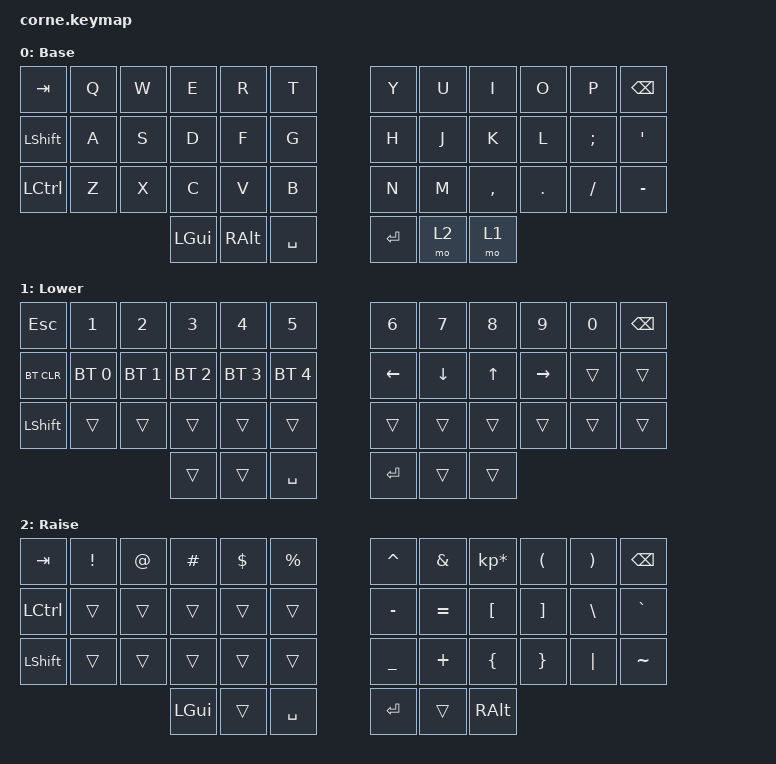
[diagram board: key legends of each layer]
/*
 * Copyright (c) 2020 The ZMK Contributors
 *
 * SPDX-License-Identifier: MIT
 */

#include <behaviors.dtsi>
#include <dt-bindings/zmk/keys.h>
#include <dt-bindings/zmk/bt.h>

/ {
        keymap {
                compatible = "zmk,keymap";

                default_layer {
// -----------------------------------------------------------------------------------------
// |  TAB |  Q  |  W  |  E  |  R  |  T  |   |  Y  |  U   |  I  |  O  |  P  | BKSP |
// | SHFT |  A  |  S  |  D  |  F  |  G  |   |  H  |  J   |  K  |  L  |  ;  |  '   |
// | CTRL |  Z  |  X  |  C  |  V  |  B  |   |  N  |  M   |  ,  |  .  |  /  | MINUS|
//                    | GUI | ALT | SPC |   | ENT | RSE  | LWR |
                        display-name = "Base";
                        bindings = <
   &kp TAB   &kp Q &kp W &kp E &kp R &kp T   &kp Y &kp U  &kp I     &kp O   &kp P    &kp BSPC
   &kp LSHFT &kp A &kp S &kp D &kp F &kp G   &kp H &kp J  &kp K     &kp L   &kp SEMI &kp SQT
   &kp LCTRL &kp Z &kp X &kp C &kp V &kp B   &kp N &kp M  &kp COMMA &kp DOT &kp FSLH &kp MINUS
                  &kp LGUI &kp RALT &kp SPACE   &kp RET &mo 2 &mo 1
                        >;
                };
                lower_layer {
// -----------------------------------------------------------------------------------------
// |  TAB |  1  |  2  |  3  |  4  |  5  |   |  6  |  7  |  8  |  9  |  0  | BKSP |
// | BTCLR| BT1 | BT2 | BT3 | BT4 | BT5 |   | LFT | DWN |  UP | RGT |     |      |
// | SHFT |     |     |     |     |     |   |     |     |     |     |     |      |
//                    | GUI |     | SPC |   | ENT |     | ALT |
                        display-name = "Lower";
                        bindings = <
   &kp ESC    &kp N1       &kp N2       &kp N3       &kp N4       &kp N5         &kp N6   &kp N7   &kp N8 &kp N9    &kp N0 &kp BSPC
   &bt BT_CLR &bt BT_SEL 0 &bt BT_SEL 1 &bt BT_SEL 2 &bt BT_SEL 3 &bt BT_SEL 4   &kp LEFT &kp DOWN &kp UP &kp RIGHT &trans &trans
   &kp LSHFT  &trans       &trans       &trans       &trans       &trans         &trans   &trans   &trans &trans    &trans &trans
                          	        &trans     &trans       &kp SPACE      &kp RET  &trans   &trans
                        >;
                };

                raise_layer {
// -----------------------------------------------------------------------------------------
// |  TAB |  !  |  @  |  #  |  $  |  %  |   |  ^  |  &  |  *  |  (  |  )  | BKSP |
// | CTRL |     |     |     |     |     |   |  -  |  =  |  [  |  ]  |  \  |  `   |
// | SHFT |     |     |     |     |     |   |  _  |  +  |  {  |  }  | "|" |  ~   |
//                    | GUI |     | SPC |   | ENT |     | ALT |
                        display-name = "Raise";
                        bindings = <
   &kp  TAB  &kp EXCL &kp AT &kp HASH &kp DLLR &kp PRCNT   &kp CARET &kp AMPS  &kp KP_MULTIPLY &kp LPAR &kp RPAR &kp BSPC
   &kp LCTRL &trans   &trans &trans   &trans   &trans      &kp MINUS &kp EQUAL &kp LBKT        &kp RBKT &kp BSLH &kp GRAVE
   &kp LSHFT &trans   &trans &trans   &trans   &trans      &kp UNDER &kp PLUS  &kp LBRC        &kp RBRC &kp PIPE &kp TILDE
                    	     &kp LGUI &trans   &kp SPACE   &kp RET   &trans    &kp RALT
                        >;
                };

                extra_1 {
                        status = "reserved";
                };

                extra_2 {
                        status = "reserved";
                };

                extra_3 {
                        status = "reserved";
                };
        };
};

/ {
    combos {
        compatible = "zmk,combos";
        combo_p {
            timeout-ms = <50>;
            key-positions = <0 1>;
            bindings = <&kp P>;
        };

        combo_o {
            timeout-ms = <50>;
            key-positions = <1 2>;
            bindings = <&kp O>;
        };

        combo_i {
            timeout-ms = <50>;
            key-positions = <2 3>;
            bindings = <&kp I>;
        };

        combo_u {
            timeout-ms = <50>;
            key-positions = <3 4>;
            bindings = <&kp U>;
        };

        combo_y {
            timeout-ms = <50>;
            key-positions = <4 5>;
            bindings = <&kp Y>;
        };

        combo_sqt {
            timeout-ms = <50>;
            key-positions = <12 13>;
            bindings = <&kp SQT>;
        };

        combo_semi {
            timeout-ms = <50>;
            key-positions = <13 14>;
            bindings = <&kp SEMI>;
        };

        combo_l {
            timeout-ms = <50>;
            key-positions = <14 15>;
            bindings = <&kp L>;
        };

        combo_k {
            timeout-ms = <50>;
            key-positions = <15 16>;
            bindings = <&kp K>;
        };

        combo_j {
            timeout-ms = <50>;
            key-positions = <16 17>;
            bindings = <&kp J>;
        };

        combo_fslh {
            timeout-ms = <50>;
            key-positions = <24 25>;
            bindings = <&kp FSLH>;
        };

        combo_dot {
            timeout-ms = <50>;
            key-positions = <25 26>;
            bindings = <&kp DOT>;
        };

        combo_comma {
            timeout-ms = <50>;
            key-positions = <26 27>;
            bindings = <&kp COMMA>;
        };

        combo_m {
            timeout-ms = <50>;
            key-positions = <27 28>;
            bindings = <&kp M>;
        };

        combo_n {
            timeout-ms = <50>;
            key-positions = <28 29>;
            bindings = <&kp N>;
        };

        combo_esc {
            timeout-ms = <50>;
            key-positions = <0 12>;
            bindings = <&kp ESC>;
        };

        combo_mo1 {
            timeout-ms = <50>;
            key-positions = <36 37>;
            bindings = <&mo 1>;
        };
    };
};
